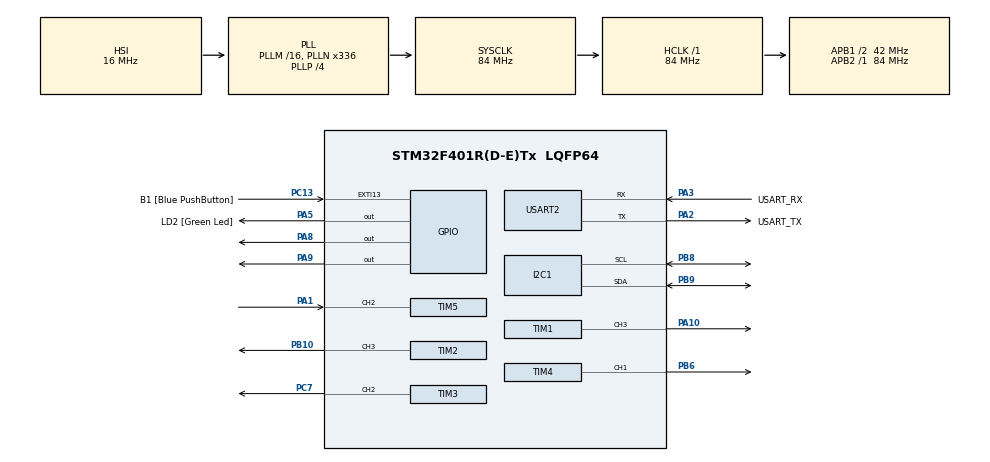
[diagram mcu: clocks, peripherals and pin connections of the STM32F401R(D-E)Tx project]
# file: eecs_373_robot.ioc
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Mcu.Family=STM32F4
Mcu.Name=STM32F401R(D-E)Tx
Mcu.Package=LQFP64
NVIC.PriorityGroup=NVIC_PRIORITYGROUP_0
NVIC.TIM5_IRQn=true\:0\:0\:false\:false\:true\:true\:true
PA1.Signal=S_TIM5_CH2
PA10.Signal=S_TIM1_CH3
PA13.GPIO_Label=TMS
PA13.Mode=Serial_Wire
PA13.Signal=SYS_JTMS-SWDIO
PA14.GPIO_Label=TCK
PA14.Mode=Serial_Wire
PA14.Signal=SYS_JTCK-SWCLK
PA2.GPIO_Label=USART_TX
PA2.GPIO_Mode=GPIO_MODE_AF_PP
PA2.GPIO_PuPd=GPIO_NOPULL
PA2.GPIO_Speed=GPIO_SPEED_FREQ_LOW
PA2.Mode=Asynchronous
PA2.Signal=USART2_TX
PA3.GPIO_Label=USART_RX
PA3.GPIO_Mode=GPIO_MODE_AF_PP
PA3.GPIO_PuPd=GPIO_NOPULL
PA3.GPIO_Speed=GPIO_SPEED_FREQ_LOW
PA3.Mode=Asynchronous
PA3.Signal=USART2_RX
PA5.GPIO_Label=LD2 [Green Led]
PA5.GPIO_Mode=GPIO_MODE_OUTPUT_PP
PA5.GPIO_PuPd=GPIO_NOPULL
PA5.GPIO_Speed=GPIO_SPEED_FREQ_LOW
PA5.Signal=GPIO_Output
PA8.Signal=GPIO_Output
PA9.Signal=GPIO_Output
PB10.Signal=S_TIM2_CH3
PB3.GPIO_Label=SWO
PB3.Signal=SYS_JTDO-SWO
PB6.Signal=S_TIM4_CH1
PB8.Mode=I2C
PB8.Signal=I2C1_SCL
PB9.Mode=I2C
PB9.Signal=I2C1_SDA
PC13-ANTI_TAMP.GPIO_Label=B1 [Blue PushButton]
PC13-ANTI_TAMP.GPIO_ModeDefaultEXTI=GPIO_MODE_IT_FALLING
PC13-ANTI_TAMP.GPIO_PuPd=GPIO_NOPULL
PC13-ANTI_TAMP.Signal=GPXTI13
PC14-OSC32_IN.Mode=LSE-External-Oscillator
PC14-OSC32_IN.Signal=RCC_OSC32_IN
PC15-OSC32_OUT.Mode=LSE-External-Oscillator
PC15-OSC32_OUT.Signal=RCC_OSC32_OUT
PC7.Signal=S_TIM3_CH2
PH0\ -\ OSC_IN.Mode=HSE-External-Clock-Source
PH0\ -\ OSC_IN.Signal=RCC_OSC_IN
PH1\ -\ OSC_OUT.Mode=HSE-External-Clock-Source
PH1\ -\ OSC_OUT.Signal=RCC_OSC_OUT
ProjectManager.HeapSize=0x200
ProjectManager.StackSize=0x400
ProjectManager.TargetToolchain=STM32CubeIDE
RCC.48MHZClocksFreq_Value=48000000
RCC.AHBFreq_Value=84000000
RCC.APB1CLKDivider=RCC_HCLK_DIV2
RCC.APB1Freq_Value=42000000
RCC.APB1TimFreq_Value=84000000
RCC.APB2Freq_Value=84000000
RCC.APB2TimFreq_Value=84000000
RCC.CortexFreq_Value=84000000
RCC.HCLKFreq_Value=84000000
RCC.HSE_VALUE=8000000
RCC.HSI_VALUE=16000000
RCC.PLLN=336
RCC.PLLP=RCC_PLLP_DIV4
RCC.PLLQ=7
RCC.SYSCLKFreq_VALUE=84000000
RCC.SYSCLKSource=RCC_SYSCLKSOURCE_PLLCLK
RCC.VCOOutputFreq_Value=336000000
SH.S_TIM1_CH3.0=TIM1_CH3,PWM Generation3 CH3
SH.S_TIM2_CH3.0=TIM2_CH3,PWM Generation3 CH3
SH.S_TIM3_CH2.0=TIM3_CH2,PWM Generation2 CH2
SH.S_TIM4_CH1.0=TIM4_CH1,PWM Generation1 CH1
SH.S_TIM5_CH2.0=TIM5_CH2,Input_Capture2_from_TI2
TIM1.Channel-PWM\ Generation3\ CH3=TIM_CHANNEL_3
TIM1.Period=5000
TIM1.Prescaler=840
TIM2.Channel-PWM\ Generation3\ CH3=TIM_CHANNEL_3
TIM2.Period=5000
TIM2.Prescaler=840
TIM3.Channel-PWM\ Generation2\ CH2=TIM_CHANNEL_2
TIM3.Period=500
TIM3.Prescaler=8400
TIM4.Channel-PWM\ Generation1\ CH1=TIM_CHANNEL_1
TIM4.Period=500
TIM4.Prescaler=8400
TIM5.Channel-Input_Capture2_from_TI2=TIM_CHANNEL_2
TIM5.Period=50000
TIM5.Prescaler=84
USART2.VirtualMode=VM_ASYNC
VP_TIM1_VS_ClockSourceINT.Mode=Internal
VP_TIM3_VS_ClockSourceINT.Mode=Internal
VP_TIM4_VS_ClockSourceINT.Mode=Internal
VP_TIM5_VS_ClockSourceINT.Mode=Internal
board=NUCLEO-F401RE

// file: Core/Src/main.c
/* USER CODE BEGIN Header */
/**
  ******************************************************************************
  * @file           : main.c
  * @brief          : Main program body
  ******************************************************************************
  * @attention
  *
  * <h2><center>&copy; Copyright (c) 2020 STMicroelectronics.
  * All rights reserved.</center></h2>
  *
  * This software component is licensed by ST under BSD 3-Clause license,
  * the "License"; You may not use this file except in compliance with the
  * License. You may obtain a copy of the License at:
  *                        opensource.org/licenses/BSD-3-Clause
  *
  ******************************************************************************
  */
/* USER CODE END Header */

#include "main.h"

/* USER CODE BEGIN Includes */
#include <string.h>
#include <stdio.h>
#include <math.h>
#include <stdlib.h>
/* USER CODE END Includes */

/* USER CODE BEGIN PTD */
#define PCF8591_ADDR 		0x90	// Device address = 0
#define PCF8591_DAC_ENABLE 	0x40
#define PCF8591_ADC_CH0		0x40
#define PCF8591_ADC_CH1		0x41
#define PCF8591_ADC_CH2		0x42
#define PCF8591_ADC_CH3		0x43
#define SERVO_MAX			260
#define SERVO_MIN			70
#define DEBUGGING			1		// 1=true, 0=false
#define WATCHDOG			2500000	//TUNE THIS VALUE FOR TIME TO DRIVE WOUT RESCANNING FOR LIGHT
/* USER CODE END PTD */

I2C_HandleTypeDef hi2c1;

TIM_HandleTypeDef htim1;
TIM_HandleTypeDef htim2;
TIM_HandleTypeDef htim3;
TIM_HandleTypeDef htim4;
TIM_HandleTypeDef htim5;

UART_HandleTypeDef huart2;

void SystemClock_Config(void);
static void MX_GPIO_Init(void);
static void MX_TIM3_Init(void);
static void MX_TIM4_Init(void);
static void MX_USART2_UART_Init(void);
static void MX_I2C1_Init(void);
static void MX_TIM1_Init(void);
static void MX_TIM2_Init(void);
static void MX_TIM5_Init(void);
/* USER CODE BEGIN PFP */
void HAL_TIM_IC_CaptureCallback(TIM_HandleTypeDef *htim);
void Read_Distance(uint8_t num_times);
uint8_t Read_Brightness();
void Set_Angle(uint8_t angle, uint32_t max, uint32_t min);
uint8_t Scan_Region_Brightness();
uint8_t Scan_Region_Obstacles();
void Turn_To_Face(uint8_t angle);
void Stop_Moving();
void Turn_Left(uint32_t time, uint32_t speed);
void Turn_Right(uint32_t time, uint32_t speed);
void Move_Forward(uint32_t time, uint32_t speed, _Bool extern_watch);
void Move_Backward(uint32_t time, uint32_t speed);
/* USER CODE END PFP */

/* USER CODE BEGIN 0 */
enum State {ScanLight=0, FaceLight=1, DriveToLight=2, ObstacleDetected=3,
	ScanAvoidance=4, FaceClearPath=5, InchForward=6};
static uint8_t buf[30];
static uint8_t raw;
static HAL_StatusTypeDef ret;
static volatile uint32_t distance = 0;
static volatile uint32_t capture = 0;
static uint32_t polarity;
static uint8_t light_angle;
static uint8_t clear_angle;
static uint32_t watchdog = WATCHDOG;
static int32_t global_angle = 0;
static uint32_t right_dist = 0;
static uint32_t left_dist = 0;
static _Bool went_right = 0;
static _Bool went_left = 0;
static int inch_counter = 0;
/* USER CODE END 0 */

int main(void)
{
  /* USER CODE BEGIN 1 */
  enum State state;
  state = ScanLight;
  polarity = TIM_INPUTCHANNELPOLARITY_RISING;

  /* USER CODE END 1 */

  /* MCU Configuration--------------------------------------------------------*/

  /* Reset of all peripherals, Initializes the Flash interface and the Systick. */
  HAL_Init();

  /* Configure the system clock */
  SystemClock_Config();

  /* Initialize all configured peripherals */
  MX_GPIO_Init();
  MX_TIM3_Init();
  MX_TIM4_Init();
  MX_USART2_UART_Init();
  MX_I2C1_Init();
  MX_TIM1_Init();
  MX_TIM2_Init();
  MX_TIM5_Init();
  /* USER CODE BEGIN 2 */
  HAL_TIM_PWM_Start(&htim3, TIM_CHANNEL_2);			//wheel pwm start
  HAL_TIM_PWM_Start(&htim4, TIM_CHANNEL_1);			//wheel pwm start
  __HAL_TIM_SetCompare(&htim3, TIM_CHANNEL_2, 0);	//wheel pwm set to 0
  __HAL_TIM_SetCompare(&htim4, TIM_CHANNEL_1, 0);	//wheel pwm set to 0

  HAL_TIM_PWM_Start(&htim1, TIM_CHANNEL_3);			//servo pwm start
  __HAL_TIM_SetCompare(&htim1, TIM_CHANNEL_3, 151);	//set servo to 90deg (forward)
  	  	  	  	  	  	  	  	  	  	  	  	  	//pwm range is 50(0deg) to 253(180deg)

  HAL_TIM_PWM_Start(&htim2, TIM_CHANNEL_3);			//ultrasonic trigger pwm start
  __HAL_TIM_SetCompare(&htim2, TIM_CHANNEL_3, 0);	//set trigger with no pulse (2=20us pulse)

  HAL_TIM_IC_Start_IT(&htim5, TIM_CHANNEL_2);		//start ultrasonic echo capture timer

  /* USER CODE END 2 */

  /* Infinite loop */
  /* USER CODE BEGIN WHILE */
  while (1)
  {
	switch(state){
	case ScanLight:			//0
		light_angle = Scan_Region_Brightness();
		if(light_angle > 90){
			global_angle = global_angle + (light_angle - 90);
		}
		else if(light_angle < 90){
			global_angle = global_angle - (light_angle - 90);
		}
		state = FaceLight;
		break;

	case FaceLight:			//1
		Turn_To_Face(light_angle);
		Set_Angle(90, SERVO_MAX, SERVO_MIN);
		HAL_Delay(1000);	//wait for servo to turn
		state = DriveToLight;
		break;

	case DriveToLight:		//2
		__HAL_TIM_SetCompare(&htim2, TIM_CHANNEL_3, 2);	//set trigger with 20us pulse)
		if(watchdog == 0){
			Stop_Moving();
			watchdog = WATCHDOG;
			__HAL_TIM_SetCompare(&htim2, TIM_CHANNEL_3, 0);	//set trigger with 20us pulse)
			state = ScanLight;
			break;
		}

		if(distance < 8 && watchdog < (uint32_t)(0.97*WATCHDOG)){
			Stop_Moving();
			__HAL_TIM_SetCompare(&htim2, TIM_CHANNEL_3, 0);	//set trigger with 20us pulse)
			state = ObstacleDetected;
			watchdog = WATCHDOG;
			break;
		}
		Move_Forward(1000, 200, 1);
		watchdog = watchdog - 1;
		break;

	case ObstacleDetected:	//3
		// look right and take the distance measurement
		Set_Angle(180, SERVO_MAX, SERVO_MIN);
		HAL_Delay(1000);	// wait for servo to turn
		Read_Distance(2);	// read distance twice to protect against errors
		right_dist = distance;

		// look left and take the distance measurement
		Set_Angle(0, SERVO_MAX, SERVO_MIN);
		HAL_Delay(1000);	// wait for servo to turn
		Read_Distance(2);	// read distance twice to protect against errors
		left_dist = distance;

		// case if the right is more open
		if(right_dist > 10 && right_dist > left_dist){
			Turn_To_Face(150);
			state = InchForward;
			went_right = 1;
			break;
		}
		// case if the left is more open
		if(left_dist > 10 && left_dist > right_dist){
			Turn_To_Face(25);
			state = InchForward;
			went_left = 1;
			break;
		}

		// case if the right and left are both blocked
		Turn_To_Face(150);
		Turn_To_Face(150);	// make two 90deg turns
		Read_Distance(2);	// read distance twice to protect against errors

		// case if area behind is also blocked
		// turn back to face front and restart state machine
		if(distance < 10){
			Turn_To_Face(150);
			Turn_To_Face(150);	// make two 90deg turns
			state = ScanLight;
			break;
		}

		// otherwise drive away from obstacles and look for clear space
		Move_Forward(2000, 200, 0);
		Turn_To_Face(150);
		Turn_To_Face(150);	// make two 90deg turns
		state = ScanAvoidance;
		break;

	case ScanAvoidance:		//4
		clear_angle = Scan_Region_Obstacles();
		if(clear_angle > 90){
			global_angle = global_angle + (clear_angle - 90);
		}
		else if(clear_angle < 90){
			global_angle = global_angle - (clear_angle - 90);
		}

		state = FaceClearPath;
		break;

	case FaceClearPath:		//5
		Turn_To_Face(clear_angle);
		Set_Angle(90, SERVO_MAX, SERVO_MIN);
		HAL_Delay(1000);

		Read_Distance(1);
		if(distance < 10){
			state = ObstacleDetected;
			break;
		}

		state = InchForward;
		break;

	case InchForward:		//6
		// case if the robot is going right or left to avoid obstacles
		if(went_right == 1 || went_left == 1){
			// look to the obstacle and check the distance
			inch_counter = 0;
			Set_Angle(180*went_left, SERVO_MAX, SERVO_MIN);	// look right if went_left else look left
			HAL_Delay(50);
			Read_Distance(2);

			// run loop a max of 4 times to check distances and keep inching forward
			// otherwise reset to the ObstacleDetected state
			while(distance < 10){
				if(inch_counter == 4){
					state = ObstacleDetected;
					inch_counter = 0;
					went_right = went_left = 0;
					break;
				}
				// inch forward and check the distance in front of the robot
				Move_Forward(1000, 150, 0);
				Set_Angle(90, SERVO_MAX, SERVO_MIN);
				HAL_Delay(1000);
				Read_Distance(3);

				// case if there is an obstacle detected in front of the robot
				// go back to ObstacleDetected state
				if(distance < 10){
					state = ObstacleDetected;
					inch_counter = 0;
					went_right = went_left = 0;
					break;
				}

				// turn back to face original obstacle and update distance
				Set_Angle(180*went_left, SERVO_MAX, SERVO_MIN);	// look right if went_left else look left
				HAL_Delay(1000);
				Read_Distance(3);
				inch_counter = inch_counter + 1;
			}

			// obstacle was cleared!
			// inch forward one more time to make entire robot clear obstacle
			// move on to re-scan the area for light source
			Move_Forward(1200, 150, 0);
			if(went_right){
				Turn_To_Face(22);
			}
			else if(went_left){
				Turn_To_Face(165);
			}
			Set_Angle(90, SERVO_MAX, SERVO_MIN);
			state = ScanLight;
			went_right = went_left = 0;
		}
		// case left and right were both blocked
		// so, drive back to open space
		else{
			Move_Forward(1000, 150, 0);
			if(clear_angle > 90){
				Set_Angle((180-clear_angle), SERVO_MAX, SERVO_MIN);
			}
			else if(clear_angle < 90){
				Set_Angle((180-clear_angle), SERVO_MAX, SERVO_MIN);
			}
			HAL_Delay(1000);
			Read_Distance(1);
			if(distance < 6){
				//didn't clear object yet
				state = ObstacleDetected;
			}
			else{
				//cleared object
				state = ScanLight;
			}
		}
		break;

	default:
		state = ScanLight;
		break;
	}

    /* USER CODE END WHILE */

  }
}

void SystemClock_Config(void)
{
  RCC_OscInitTypeDef RCC_OscInitStruct = {0};
  RCC_ClkInitTypeDef RCC_ClkInitStruct = {0};

  /** Configure the main internal regulator output voltage
  */
  __HAL_RCC_PWR_CLK_ENABLE();
  __HAL_PWR_VOLTAGESCALING_CONFIG(PWR_REGULATOR_VOLTAGE_SCALE2);
  /** Initializes the CPU, AHB and APB busses clocks
  */
  RCC_OscInitStruct.OscillatorType = RCC_OSCILLATORTYPE_HSI;
  RCC_OscInitStruct.HSIState = RCC_HSI_ON;
  RCC_OscInitStruct.HSICalibrationValue = RCC_HSICALIBRATION_DEFAULT;
  RCC_OscInitStruct.PLL.PLLState = RCC_PLL_ON;
  RCC_OscInitStruct.PLL.PLLSource = RCC_PLLSOURCE_HSI;
  RCC_OscInitStruct.PLL.PLLM = 16;
  RCC_OscInitStruct.PLL.PLLN = 336;
  RCC_OscInitStruct.PLL.PLLP = RCC_PLLP_DIV4;
  RCC_OscInitStruct.PLL.PLLQ = 7;
  if (HAL_RCC_OscConfig(&RCC_OscInitStruct) != HAL_OK)
  {
    Error_Handler();
  }
  /** Initializes the CPU, AHB and APB busses clocks
  */
  RCC_ClkInitStruct.ClockType = RCC_CLOCKTYPE_HCLK|RCC_CLOCKTYPE_SYSCLK
                              |RCC_CLOCKTYPE_PCLK1|RCC_CLOCKTYPE_PCLK2;
  RCC_ClkInitStruct.SYSCLKSource = RCC_SYSCLKSOURCE_PLLCLK;
  RCC_ClkInitStruct.AHBCLKDivider = RCC_SYSCLK_DIV1;
  RCC_ClkInitStruct.APB1CLKDivider = RCC_HCLK_DIV2;
  RCC_ClkInitStruct.APB2CLKDivider = RCC_HCLK_DIV1;

  if (HAL_RCC_ClockConfig(&RCC_ClkInitStruct, FLASH_LATENCY_2) != HAL_OK)
  {
    Error_Handler();
  }
}

static void MX_I2C1_Init(void)
{

  hi2c1.Instance = I2C1;
  hi2c1.Init.ClockSpeed = 100000;
  hi2c1.Init.DutyCycle = I2C_DUTYCYCLE_2;
  hi2c1.Init.OwnAddress1 = 0;
  hi2c1.Init.AddressingMode = I2C_ADDRESSINGMODE_7BIT;
  hi2c1.Init.DualAddressMode = I2C_DUALADDRESS_DISABLE;
  hi2c1.Init.OwnAddress2 = 0;
  hi2c1.Init.GeneralCallMode = I2C_GENERALCALL_DISABLE;
  hi2c1.Init.NoStretchMode = I2C_NOSTRETCH_DISABLE;
  if (HAL_I2C_Init(&hi2c1) != HAL_OK)
  {
    Error_Handler();
  }

}

static void MX_TIM1_Init(void)
{

  TIM_ClockConfigTypeDef sClockSourceConfig = {0};
  TIM_MasterConfigTypeDef sMasterConfig = {0};
  TIM_OC_InitTypeDef sConfigOC = {0};
  TIM_BreakDeadTimeConfigTypeDef sBreakDeadTimeConfig = {0};

  htim1.Instance = TIM1;
  htim1.Init.Prescaler = 840;
  htim1.Init.CounterMode = TIM_COUNTERMODE_UP;
  htim1.Init.Period = 2000;
  htim1.Init.ClockDivision = TIM_CLOCKDIVISION_DIV1;
  htim1.Init.RepetitionCounter = 0;
  htim1.Init.AutoReloadPreload = TIM_AUTORELOAD_PRELOAD_DISABLE;
  if (HAL_TIM_Base_Init(&htim1) != HAL_OK)
  {
    Error_Handler();
  }
  sClockSourceConfig.ClockSource = TIM_CLOCKSOURCE_INTERNAL;
  if (HAL_TIM_ConfigClockSource(&htim1, &sClockSourceConfig) != HAL_OK)
  {
    Error_Handler();
  }
  if (HAL_TIM_PWM_Init(&htim1) != HAL_OK)
  {
    Error_Handler();
  }
  sMasterConfig.MasterOutputTrigger = TIM_TRGO_RESET;
  sMasterConfig.MasterSlaveMode = TIM_MASTERSLAVEMODE_DISABLE;
  if (HAL_TIMEx_MasterConfigSynchronization(&htim1, &sMasterConfig) != HAL_OK)
  {
    Error_Handler();
  }
  sConfigOC.OCMode = TIM_OCMODE_PWM1;
  sConfigOC.Pulse = 0;
  sConfigOC.OCPolarity = TIM_OCPOLARITY_HIGH;
  sConfigOC.OCNPolarity = TIM_OCNPOLARITY_HIGH;
  sConfigOC.OCFastMode = TIM_OCFAST_DISABLE;
  sConfigOC.OCIdleState = TIM_OCIDLESTATE_RESET;
  sConfigOC.OCNIdleState = TIM_OCNIDLESTATE_RESET;
  if (HAL_TIM_PWM_ConfigChannel(&htim1, &sConfigOC, TIM_CHANNEL_3) != HAL_OK)
  {
    Error_Handler();
  }
  sBreakDeadTimeConfig.OffStateRunMode = TIM_OSSR_DISABLE;
  sBreakDeadTimeConfig.OffStateIDLEMode = TIM_OSSI_DISABLE;
  sBreakDeadTimeConfig.LockLevel = TIM_LOCKLEVEL_OFF;
  sBreakDeadTimeConfig.DeadTime = 0;
  sBreakDeadTimeConfig.BreakState = TIM_BREAK_DISABLE;
  sBreakDeadTimeConfig.BreakPolarity = TIM_BREAKPOLARITY_HIGH;
  sBreakDeadTimeConfig.AutomaticOutput = TIM_AUTOMATICOUTPUT_DISABLE;
  if (HAL_TIMEx_ConfigBreakDeadTime(&htim1, &sBreakDeadTimeConfig) != HAL_OK)
  {
    Error_Handler();
  }
  HAL_TIM_MspPostInit(&htim1);

}

static void MX_TIM2_Init(void)
{

  TIM_MasterConfigTypeDef sMasterConfig = {0};
  TIM_OC_InitTypeDef sConfigOC = {0};

  htim2.Instance = TIM2;
  htim2.Init.Prescaler = 840;
  htim2.Init.CounterMode = TIM_COUNTERMODE_UP;
  htim2.Init.Period = 5000;
  htim2.Init.ClockDivision = TIM_CLOCKDIVISION_DIV1;
  htim2.Init.AutoReloadPreload = TIM_AUTORELOAD_PRELOAD_DISABLE;
  if (HAL_TIM_PWM_Init(&htim2) != HAL_OK)
  {
    Error_Handler();
  }
  sMasterConfig.MasterOutputTrigger = TIM_TRGO_RESET;
  sMasterConfig.MasterSlaveMode = TIM_MASTERSLAVEMODE_DISABLE;
  if (HAL_TIMEx_MasterConfigSynchronization(&htim2, &sMasterConfig) != HAL_OK)
  {
    Error_Handler();
  }
  sConfigOC.OCMode = TIM_OCMODE_PWM1;
  sConfigOC.Pulse = 0;
  sConfigOC.OCPolarity = TIM_OCPOLARITY_HIGH;
  sConfigOC.OCFastMode = TIM_OCFAST_DISABLE;
  if (HAL_TIM_PWM_ConfigChannel(&htim2, &sConfigOC, TIM_CHANNEL_3) != HAL_OK)
  {
    Error_Handler();
  }
  HAL_TIM_MspPostInit(&htim2);

}

static void MX_TIM3_Init(void)
{

  TIM_ClockConfigTypeDef sClockSourceConfig = {0};
  TIM_MasterConfigTypeDef sMasterConfig = {0};
  TIM_OC_InitTypeDef sConfigOC = {0};

  htim3.Instance = TIM3;
  htim3.Init.Prescaler = 8400;
  htim3.Init.CounterMode = TIM_COUNTERMODE_UP;
  htim3.Init.Period = 500;
  htim3.Init.ClockDivision = TIM_CLOCKDIVISION_DIV1;
  htim3.Init.AutoReloadPreload = TIM_AUTORELOAD_PRELOAD_DISABLE;
  if (HAL_TIM_Base_Init(&htim3) != HAL_OK)
  {
    Error_Handler();
  }
  sClockSourceConfig.ClockSource = TIM_CLOCKSOURCE_INTERNAL;
  if (HAL_TIM_ConfigClockSource(&htim3, &sClockSourceConfig) != HAL_OK)
  {
    Error_Handler();
  }
  if (HAL_TIM_PWM_Init(&htim3) != HAL_OK)
  {
    Error_Handler();
  }
  sMasterConfig.MasterOutputTrigger = TIM_TRGO_RESET;
  sMasterConfig.MasterSlaveMode = TIM_MASTERSLAVEMODE_DISABLE;
  if (HAL_TIMEx_MasterConfigSynchronization(&htim3, &sMasterConfig) != HAL_OK)
  {
    Error_Handler();
  }
  sConfigOC.OCMode = TIM_OCMODE_PWM1;
  sConfigOC.Pulse = 0;
  sConfigOC.OCPolarity = TIM_OCPOLARITY_HIGH;
  sConfigOC.OCFastMode = TIM_OCFAST_DISABLE;
  if (HAL_TIM_PWM_ConfigChannel(&htim3, &sConfigOC, TIM_CHANNEL_2) != HAL_OK)
  {
    Error_Handler();
  }
  HAL_TIM_MspPostInit(&htim3);

}

static void MX_TIM4_Init(void)
{

  TIM_ClockConfigTypeDef sClockSourceConfig = {0};
  TIM_MasterConfigTypeDef sMasterConfig = {0};
  TIM_OC_InitTypeDef sConfigOC = {0};

  htim4.Instance = TIM4;
  htim4.Init.Prescaler = 8400;
  htim4.Init.CounterMode = TIM_COUNTERMODE_UP;
  htim4.Init.Period = 500;
  htim4.Init.ClockDivision = TIM_CLOCKDIVISION_DIV1;
  htim4.Init.AutoReloadPreload = TIM_AUTORELOAD_PRELOAD_DISABLE;
  if (HAL_TIM_Base_Init(&htim4) != HAL_OK)
  {
    Error_Handler();
  }
  sClockSourceConfig.ClockSource = TIM_CLOCKSOURCE_INTERNAL;
  if (HAL_TIM_ConfigClockSource(&htim4, &sClockSourceConfig) != HAL_OK)
  {
    Error_Handler();
  }
  if (HAL_TIM_PWM_Init(&htim4) != HAL_OK)
  {
    Error_Handler();
  }
  sMasterConfig.MasterOutputTrigger = TIM_TRGO_RESET;
  sMasterConfig.MasterSlaveMode = TIM_MASTERSLAVEMODE_DISABLE;
  if (HAL_TIMEx_MasterConfigSynchronization(&htim4, &sMasterConfig) != HAL_OK)
  {
    Error_Handler();
  }
  sConfigOC.OCMode = TIM_OCMODE_PWM1;
  sConfigOC.Pulse = 0;
  sConfigOC.OCPolarity = TIM_OCPOLARITY_HIGH;
  sConfigOC.OCFastMode = TIM_OCFAST_DISABLE;
  if (HAL_TIM_PWM_ConfigChannel(&htim4, &sConfigOC, TIM_CHANNEL_1) != HAL_OK)
  {
    Error_Handler();
  }
  HAL_TIM_MspPostInit(&htim4);

}

static void MX_TIM5_Init(void)
{

  TIM_ClockConfigTypeDef sClockSourceConfig = {0};
  TIM_MasterConfigTypeDef sMasterConfig = {0};
  TIM_IC_InitTypeDef sConfigIC = {0};

  htim5.Instance = TIM5;
  htim5.Init.Prescaler = 84;
  htim5.Init.CounterMode = TIM_COUNTERMODE_UP;
  htim5.Init.Period = 50000;
  htim5.Init.ClockDivision = TIM_CLOCKDIVISION_DIV1;
  htim5.Init.AutoReloadPreload = TIM_AUTORELOAD_PRELOAD_DISABLE;
  if (HAL_TIM_Base_Init(&htim5) != HAL_OK)
  {
    Error_Handler();
  }
  sClockSourceConfig.ClockSource = TIM_CLOCKSOURCE_INTERNAL;
  if (HAL_TIM_ConfigClockSource(&htim5, &sClockSourceConfig) != HAL_OK)
  {
    Error_Handler();
  }
  if (HAL_TIM_IC_Init(&htim5) != HAL_OK)
  {
    Error_Handler();
  }
  sMasterConfig.MasterOutputTrigger = TIM_TRGO_RESET;
  sMasterConfig.MasterSlaveMode = TIM_MASTERSLAVEMODE_DISABLE;
  if (HAL_TIMEx_MasterConfigSynchronization(&htim5, &sMasterConfig) != HAL_OK)
  {
    Error_Handler();
  }
  sConfigIC.ICPolarity = TIM_INPUTCHANNELPOLARITY_RISING;
  sConfigIC.ICSelection = TIM_ICSELECTION_DIRECTTI;
  sConfigIC.ICPrescaler = TIM_ICPSC_DIV1;
  sConfigIC.ICFilter = 2;
  if (HAL_TIM_IC_ConfigChannel(&htim5, &sConfigIC, TIM_CHANNEL_2) != HAL_OK)
  {
    Error_Handler();
  }

}

static void MX_USART2_UART_Init(void)
{

  huart2.Instance = USART2;
  huart2.Init.BaudRate = 115200;
  huart2.Init.WordLength = UART_WORDLENGTH_8B;
  huart2.Init.StopBits = UART_STOPBITS_1;
  huart2.Init.Parity = UART_PARITY_NONE;
  huart2.Init.Mode = UART_MODE_TX_RX;
  huart2.Init.HwFlowCtl = UART_HWCONTROL_NONE;
  huart2.Init.OverSampling = UART_OVERSAMPLING_16;
  if (HAL_UART_Init(&huart2) != HAL_OK)
  {
    Error_Handler();
  }

}

static void MX_GPIO_Init(void)
{
  GPIO_InitTypeDef GPIO_InitStruct = {0};

  /* GPIO Ports Clock Enable */
  __HAL_RCC_GPIOC_CLK_ENABLE();
  __HAL_RCC_GPIOH_CLK_ENABLE();
  __HAL_RCC_GPIOA_CLK_ENABLE();
  __HAL_RCC_GPIOB_CLK_ENABLE();

  /*Configure GPIO pin Output Level */
  HAL_GPIO_WritePin(GPIOA, LD2_Pin|GPIO_PIN_8|GPIO_PIN_9, GPIO_PIN_RESET);

  /*Configure GPIO pin : B1_Pin */
  GPIO_InitStruct.Pin = B1_Pin;
  GPIO_InitStruct.Mode = GPIO_MODE_IT_FALLING;
  GPIO_InitStruct.Pull = GPIO_NOPULL;
  HAL_GPIO_Init(B1_GPIO_Port, &GPIO_InitStruct);

  /*Configure GPIO pins : LD2_Pin PA8 PA9 */
  GPIO_InitStruct.Pin = LD2_Pin|GPIO_PIN_8|GPIO_PIN_9;
  GPIO_InitStruct.Mode = GPIO_MODE_OUTPUT_PP;
  GPIO_InitStruct.Pull = GPIO_NOPULL;
  GPIO_InitStruct.Speed = GPIO_SPEED_FREQ_LOW;
  HAL_GPIO_Init(GPIOA, &GPIO_InitStruct);

}

/* USER CODE BEGIN 4 */
/*
 * @param 	time: time to move in milliseconds
 * @param 	speed: pwm for motor. 0-100% mapped to 0-500
 * @retval 	None
 */
void Move_Backward(uint32_t time, uint32_t speed){
	//move backward
	__HAL_TIM_SetCompare(&htim3, TIM_CHANNEL_2, speed);
	__HAL_TIM_SetCompare(&htim4, TIM_CHANNEL_1, speed);
	HAL_GPIO_WritePin(GPIOA, GPIO_PIN_8, GPIO_PIN_SET);
	HAL_GPIO_WritePin(GPIOA, GPIO_PIN_9, GPIO_PIN_SET);
	HAL_Delay(time);
	Stop_Moving();
}

/*
 * @param 	time: time to move in milliseconds
 * @param 	speed: pwm for motor. 0-100% mapped to 0-500
 * @retval 	None
 */
void Move_Forward(uint32_t time, uint32_t speed, _Bool extern_watch){
	//move forward
	__HAL_TIM_SetCompare(&htim3, TIM_CHANNEL_2, speed);
	__HAL_TIM_SetCompare(&htim4, TIM_CHANNEL_1, speed);
	HAL_GPIO_WritePin(GPIOA, GPIO_PIN_8, GPIO_PIN_RESET);
	HAL_GPIO_WritePin(GPIOA, GPIO_PIN_9, GPIO_PIN_RESET);

	if(extern_watch == 0){
		HAL_Delay(time);
		Stop_Moving();
	}
}

/*
 * @param 	time: time to move in milliseconds
 * @param 	speed: pwm for motor. 0-100% mapped to 0-500
 * @retval 	None
 */
void Turn_Right(uint32_t time, uint32_t speed){
	//turn right
	__HAL_TIM_SetCompare(&htim3, TIM_CHANNEL_2, speed);
	__HAL_TIM_SetCompare(&htim4, TIM_CHANNEL_1, speed);
	HAL_GPIO_WritePin(GPIOA, GPIO_PIN_8, GPIO_PIN_SET);
	HAL_GPIO_WritePin(GPIOA, GPIO_PIN_9, GPIO_PIN_RESET);
	HAL_Delay(time);
	Stop_Moving();
}

/*
 * @param 	time: time to move in milliseconds
 * @param 	speed: pwm for motor. 0-100% mapped to 0-500
 * @retval 	None
 */
void Turn_Left(uint32_t time, uint32_t speed){
	//turn left
	__HAL_TIM_SetCompare(&htim3, TIM_CHANNEL_2, speed);
	__HAL_TIM_SetCompare(&htim4, TIM_CHANNEL_1, speed);
	HAL_GPIO_WritePin(GPIOA, GPIO_PIN_8, GPIO_PIN_RESET);
	HAL_GPIO_WritePin(GPIOA, GPIO_PIN_9, GPIO_PIN_SET);
	HAL_Delay(time);
	Stop_Moving();
}

/*
 * @retval 	None
 */
void Stop_Moving(){
	//set speed to 0
	__HAL_TIM_SetCompare(&htim3, TIM_CHANNEL_2, 0);	//wheel pwm set to 0
	__HAL_TIM_SetCompare(&htim4, TIM_CHANNEL_1, 0);	//wheel pwm set to 0
}

/*
 * @brief 	This function turns the zumo to face the angle it is given
 * 			90 degrees is facing forward
 * @param	angle: uint8_t specifying the angle relative to the zumo
 * @retval	None
 */
void Turn_To_Face(uint8_t angle){
	if(angle < 90){
		Turn_Left((90-angle)*9, 180);		//turn for x ms at 20% speed
	}
	else if(angle > 90){
		Turn_Right((angle-90)*9, 200);		//turn for x ms at 20% speed
	}
	return;
}

/*
 * @brief	This function scans the area in front and returns a direction
 * 		  	that has no obstacles
 * @param 	None
 * @retval 	angle: uint8_t angle of max distance
 */
uint8_t Scan_Region_Obstacles(){
	Set_Angle(0, SERVO_MAX, SERVO_MIN);	//move servo to angle 0
	HAL_Delay(1000);					//wait 1sec while servo moves
	uint32_t max_dist = 0; 				//init max brightness to angle 0
	uint8_t max_angle = 0;  			//init max brightness to angle 0
	uint32_t distances[19] = {[0 ... 18]=0};
	uint32_t avg_angle = 0;
	uint8_t counter = 0;

	for(uint32_t angle=0; angle <= 180; angle = angle + 10){
		Set_Angle(angle, SERVO_MAX, SERVO_MIN);
		HAL_Delay(125);
		Read_Distance(1);
		if(distance > max_dist && distance < 150){
			max_dist = distance;
			max_angle = angle;
		}
		distances[angle/10] = distance;
	}

	for(uint32_t i = 0; i <= 18; ++i){
		if(distances[i] >= 15){
			avg_angle = avg_angle + (i*10);
			counter = counter + 1;
		}
	}
	avg_angle = avg_angle / counter;

	if(abs(avg_angle - max_angle) <= 50){
		max_angle = avg_angle;
	}
	return max_angle;
}

/*
 * @brief	This function scans the area in front and returns the location
 * 		  	that has the highest brightness value
 * @param 	None
 * @retval 	angle: uint8_t angle of max brightness
 */
uint8_t Scan_Region_Brightness(){
	Set_Angle(0, SERVO_MAX, SERVO_MIN);	//move servo to angle 0
	HAL_Delay(1000);					//wait 1sec while servo moves
	uint8_t max_bright = 255; 			//init max brightness to angle 0
	uint8_t max_angle = 0;  			//init max brightness to angle 0
	uint16_t brightnesses[19] = {[0 ... 18]=300};
	uint32_t avg_angle = 0;
	uint8_t counter = 0;

	for(uint32_t angle=0; angle <= 180; angle = angle + 10){
		Set_Angle(angle, SERVO_MAX, SERVO_MIN);
		HAL_Delay(125);
		uint8_t brightness = Read_Brightness();
		brightnesses[angle/10] = brightness;
		if(brightness < max_bright){
			max_bright = brightness;
			max_angle = angle;
		}
	}

	for(uint32_t i=0; i <= 18; ++i){
		if(abs(brightnesses[i] - max_bright) <= 10){
			avg_angle = avg_angle + (i*10);
			counter = counter + 1;
		}
	}
	avg_angle = avg_angle / counter;

	if(abs(avg_angle - max_angle) <= 50){
		max_angle = avg_angle;
	}
	return max_angle;
}

/*
 * @brief	This function sets the servo to a specific angle
 * @param 	angle: a uint8_t specifying the angle to go to
 * @param 	max: a uint32_t specifying the max pwm
 * @param 	min: a uint32_t specifying the min pwm
 * @retval 	None
 */
void Set_Angle(uint8_t angle, uint32_t max, uint32_t min){
	float pwm = ((float)(angle))/180;
	pwm = (pwm * (max - min)) + min;
	pwm = (max + min) - pwm;
	__HAL_TIM_SetCompare(&htim1, TIM_CHANNEL_3, (uint32_t)pwm);
	return;
}

/*
 * @brief	This function takes a brightness reading
 * @param 	None
 * @retval 	raw: a uint8_t raw value of brightness reading
 */
uint8_t Read_Brightness(){
	buf[0] = PCF8591_ADC_CH0;
	ret = HAL_I2C_Master_Transmit(&hi2c1, PCF8591_ADDR, buf, 1, HAL_MAX_DELAY);
	if(ret!=HAL_OK){
	  strcpy((char*)buf, "Err Tx 2\r\n");
	}

	ret = HAL_I2C_Master_Receive(&hi2c1, PCF8591_ADDR, buf, 2, HAL_MAX_DELAY);
	if ( ret != HAL_OK ) {
	  strcpy((char*)buf, "Err Rx\r\n");
	}

	raw = buf[1];

	if(DEBUGGING == 1){
		sprintf((char*)buf,
			  "%u raw\r\n",
			  ((unsigned int)raw));
		HAL_UART_Transmit(&huart2, buf, strlen((char*)buf), HAL_MAX_DELAY);
		HAL_Delay(10);
	}

	return raw;
}

/*
 * @brief	This function takes a distance reading
 * @param 	debug: a boolean that will enable putty output
 * @retval 	raw: a uint32_t raw value of distance reading
 */
void Read_Distance(uint8_t num_times){
	//start reading
	__HAL_TIM_SetCompare(&htim2, TIM_CHANNEL_3, 2);	//set trigger with 20us pulse)

	//give time to grab reading
	HAL_Delay(200*num_times);

	//stop sending trigger to read
	__HAL_TIM_SetCompare(&htim2, TIM_CHANNEL_3, 0);	//set trigger with no pulse)
}

void HAL_TIM_IC_CaptureCallback(TIM_HandleTypeDef *htim){
	if(htim->Instance==TIM5){
		//reset counter after input capture interrupt occurs
		if(polarity == TIM_INPUTCHANNELPOLARITY_RISING){
			__HAL_TIM_SetCounter(htim, 0);
			polarity = TIM_INPUTCHANNELPOLARITY_FALLING;
			__HAL_TIM_SET_CAPTUREPOLARITY(htim, TIM_CHANNEL_2, TIM_INPUTCHANNELPOLARITY_FALLING);

		}
		else if(polarity == TIM_INPUTCHANNELPOLARITY_FALLING){
			distance = HAL_TIM_ReadCapturedValue(htim, TIM_CHANNEL_2);// - capture;
			distance = distance / 148;
			polarity = TIM_INPUTCHANNELPOLARITY_RISING;
			__HAL_TIM_SET_CAPTUREPOLARITY(htim, TIM_CHANNEL_2, polarity);
			__HAL_TIM_SetCounter(htim, 0);

			if(DEBUGGING){
				sprintf(buf, "Distance: %lu inches\r\n", distance);
				HAL_UART_Transmit(&huart2, (uint8_t*)buf, strlen(buf), HAL_MAX_DELAY);
			}//if
		}//else if
	}//if
}

/* USER CODE END 4 */

void Error_Handler(void)
{
}

/************************ (C) COPYRIGHT STMicroelectronics *****END OF FILE****/
